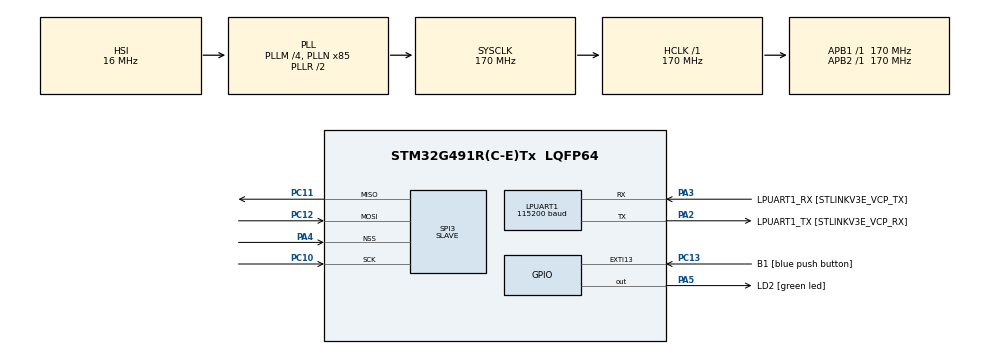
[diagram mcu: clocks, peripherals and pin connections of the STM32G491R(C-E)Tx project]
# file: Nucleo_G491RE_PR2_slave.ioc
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Dma.Request0=SPI3_RX
Dma.Request1=SPI3_TX
Dma.SPI3_RX.0.Direction=DMA_PERIPH_TO_MEMORY
Dma.SPI3_RX.0.EventEnable=DISABLE
Dma.SPI3_RX.0.Instance=DMA1_Channel1
Dma.SPI3_RX.0.MemDataAlignment=DMA_MDATAALIGN_BYTE
Dma.SPI3_RX.0.MemInc=DMA_MINC_ENABLE
Dma.SPI3_RX.0.Mode=DMA_NORMAL
Dma.SPI3_RX.0.PeriphDataAlignment=DMA_PDATAALIGN_BYTE
Dma.SPI3_RX.0.PeriphInc=DMA_PINC_DISABLE
Dma.SPI3_RX.0.Polarity=HAL_DMAMUX_REQ_GEN_RISING
Dma.SPI3_RX.0.Priority=DMA_PRIORITY_LOW
Dma.SPI3_RX.0.RequestNumber=1
Dma.SPI3_RX.0.SignalID=NONE
Dma.SPI3_RX.0.SyncEnable=DISABLE
Dma.SPI3_RX.0.SyncPolarity=HAL_DMAMUX_SYNC_NO_EVENT
Dma.SPI3_RX.0.SyncRequestNumber=1
Dma.SPI3_RX.0.SyncSignalID=NONE
Dma.SPI3_TX.1.Direction=DMA_MEMORY_TO_PERIPH
Dma.SPI3_TX.1.EventEnable=DISABLE
Dma.SPI3_TX.1.Instance=DMA1_Channel2
Dma.SPI3_TX.1.MemDataAlignment=DMA_MDATAALIGN_BYTE
Dma.SPI3_TX.1.MemInc=DMA_MINC_ENABLE
Dma.SPI3_TX.1.Mode=DMA_NORMAL
Dma.SPI3_TX.1.PeriphDataAlignment=DMA_PDATAALIGN_BYTE
Dma.SPI3_TX.1.PeriphInc=DMA_PINC_DISABLE
Dma.SPI3_TX.1.Polarity=HAL_DMAMUX_REQ_GEN_RISING
Dma.SPI3_TX.1.Priority=DMA_PRIORITY_LOW
Dma.SPI3_TX.1.RequestNumber=1
Dma.SPI3_TX.1.SignalID=NONE
Dma.SPI3_TX.1.SyncEnable=DISABLE
Dma.SPI3_TX.1.SyncPolarity=HAL_DMAMUX_SYNC_NO_EVENT
Dma.SPI3_TX.1.SyncRequestNumber=1
Dma.SPI3_TX.1.SyncSignalID=NONE
FREERTOS.Tasks01=SPIslaveTask,-3,128,StartSPIslaveTask,Default,NULL,Dynamic,NULL,NULL;IdleTask,-3,128,StartIdleTask,Default,NULL,Dynamic,NULL,NULL
LPUART1.BaudRate=115200
LPUART1.WordLength=UART_WORDLENGTH_8B
Mcu.Family=STM32G4
Mcu.Name=STM32G491R(C-E)Tx
Mcu.Package=LQFP64
NVIC.DMA1_Channel1_IRQn=true\:5\:0\:false\:false\:true\:true\:false\:true
NVIC.DMA1_Channel2_IRQn=true\:5\:0\:false\:false\:true\:true\:false\:true
NVIC.EXTI15_10_IRQn=true\:5\:0\:false\:false\:true\:true\:true\:true
NVIC.PriorityGroup=NVIC_PRIORITYGROUP_4
NVIC.TIM1_UP_TIM16_IRQn=true\:0\:0\:false\:false\:true\:false\:false\:true
NVIC.TimeBase=TIM1_UP_TIM16_IRQn
NVIC.TimeBaseIP=TIM1
PA13.GPIO_Label=T_SWDIO
PA13.Mode=Serial_Wire
PA13.Signal=SYS_JTMS-SWDIO
PA14.GPIO_Label=T_SWCLK
PA14.Mode=Serial_Wire
PA14.Signal=SYS_JTCK-SWCLK
PA2.GPIO_Label=LPUART1_TX [STLINKV3E_VCP_RX]
PA2.Mode=Asynchronous
PA2.Signal=LPUART1_TX
PA3.GPIO_Label=LPUART1_RX [STLINKV3E_VCP_TX]
PA3.Mode=Asynchronous
PA3.Signal=LPUART1_RX
PA4.Mode=NSS_Signal_Hard_Input
PA4.Signal=SPI3_NSS
PA5.GPIO_Label=LD2 [green led]
PA5.Signal=GPIO_Output
PB3.GPIO_Label=T_SWO
PB3.Signal=SYS_JTDO-SWO
PC10.Mode=Full_Duplex_Slave
PC10.Signal=SPI3_SCK
PC11.Mode=Full_Duplex_Slave
PC11.Signal=SPI3_MISO
PC12.Mode=Full_Duplex_Slave
PC12.Signal=SPI3_MOSI
PC13.GPIO_Label=B1 [blue push button]
PC13.Signal=GPXTI13
PC14-OSC32_IN.Mode=LSE-External-Oscillator
PC14-OSC32_IN.Signal=RCC_OSC32_IN
PC15-OSC32_OUT.Mode=LSE-External-Oscillator
PC15-OSC32_OUT.Signal=RCC_OSC32_OUT
PF0-OSC_IN.Mode=HSE-External-Oscillator
PF0-OSC_IN.Signal=RCC_OSC_IN
PF1-OSC_OUT.Mode=HSE-External-Oscillator
PF1-OSC_OUT.Signal=RCC_OSC_OUT
ProjectManager.HeapSize=0x200
ProjectManager.StackSize=0x400
ProjectManager.TargetToolchain=STM32CubeIDE
RCC.ADC12Freq_Value=170000000
RCC.ADC345Freq_Value=170000000
RCC.AHBFreq_Value=170000000
RCC.APB1Freq_Value=170000000
RCC.APB1TimFreq_Value=170000000
RCC.APB2Freq_Value=170000000
RCC.APB2TimFreq_Value=170000000
RCC.CortexFreq_Value=170000000
RCC.EXTERNAL_CLOCK_VALUE=12288000
RCC.HCLKFreq_Value=170000000
RCC.HSE_VALUE=24000000
RCC.HSI48_VALUE=48000000
RCC.HSI_VALUE=16000000
RCC.PLLM=RCC_PLLM_DIV4
RCC.PLLN=85
RCC.RTCClockSelection=RCC_RTCCLKSOURCE_LSE
RCC.SYSCLKFreq_VALUE=170000000
RCC.SYSCLKSource=RCC_SYSCLKSOURCE_PLLCLK
RCC.USBFreq_Value=48000000
RCC.VCOOutputFreq_Value=340000000
SPI3.Direction=SPI_DIRECTION_2LINES
SPI3.FirstBit=SPI_FIRSTBIT_MSB
SPI3.Mode=SPI_MODE_SLAVE
SPI3.VirtualNSS=VM_NSSHARD
SPI3.VirtualType=VM_SLAVE
VP_FREERTOS_VS_CMSIS_V1.Mode=CMSIS_V1
VP_SYS_VS_DBSignals.Mode=DisableDeadBatterySignals
VP_SYS_VS_tim1.Mode=TIM1
board=NUCLEO-G491RE

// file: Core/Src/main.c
/* USER CODE BEGIN Header */
/**
  ******************************************************************************
  * @file           : main.c
  * @brief          : Main program body
  ******************************************************************************
  * @attention
  *
  * <h2><center>&copy; Copyright (c) 2022 STMicroelectronics.
  * All rights reserved.</center></h2>
  *
  * This software component is licensed by ST under BSD 3-Clause license,
  * the "License"; You may not use this file except in compliance with the
  * License. You may obtain a copy of the License at:
  *                        opensource.org/licenses/BSD-3-Clause
  *
  ******************************************************************************
  */
/* USER CODE END Header */
#include "main.h"
#include "cmsis_os.h"

UART_HandleTypeDef hlpuart1;

SPI_HandleTypeDef hspi3;
DMA_HandleTypeDef hdma_spi3_rx;
DMA_HandleTypeDef hdma_spi3_tx;

osThreadId SPIslaveTaskHandle;
osThreadId IdleTaskHandle;
/* USER CODE BEGIN PV */
uint8_t rxBuffer[1] = {};
uint8_t txBuffer[44] = {};
/* USER CODE END PV */

void SystemClock_Config(void);
static void MX_GPIO_Init(void);
static void MX_DMA_Init(void);
static void MX_LPUART1_UART_Init(void);
static void MX_SPI3_Init(void);
void StartSPIslaveTask(void const * argument);
void StartIdleTask(void const * argument);

/* USER CODE BEGIN 0 */

// PR2に送信したいuint16型の数字を、uint8型の数字2つに分解する。
// 引数のvalは分解元のuint16型の数字
// 引数のdigitは分解された2つ数字のうち上から何番目を取り出すか
uint8_t decomposeDigit(uint16_t val, uint8_t digit){
	uint8_t num;
	num = val >> ((1 - digit) * 8);
	return num;
}

// PR2に送信したいuint16型の数字を、グローバル変数txBuffer[44]に格納する
// 引数のvalは、PR2に送信したいuint16型の数字
// 引数のidxは、PR2のトピック(/pressure/l(r)_gripper_motor)の配列の何番目にvalを格納するか。
// idx = 0, 1, 2, ... 21
// 44個の要素は2個で1つの数字となり、PR2に送信される。
// 1つの数字を2要素に分解するための関数がdecomposeDigit()
void setTxBuffer(uint16_t val, uint8_t idx) {
	for(int i = 0; i < 2; i++) {
	    txBuffer[idx * 2 + i] = decomposeDigit(val, i);
	}
}

/* USER CODE END 0 */

int main(void)
{

  /* MCU Configuration--------------------------------------------------------*/

  /* Reset of all peripherals, Initializes the Flash interface and the Systick. */
  HAL_Init();

  /* Configure the system clock */
  SystemClock_Config();

  /* Initialize all configured peripherals */
  MX_GPIO_Init();
  MX_DMA_Init();
  MX_LPUART1_UART_Init();
  MX_SPI3_Init();
  /* USER CODE BEGIN 2 */
  // /pressure/l(r)_gripper_motor values will be
  // [0, 100, 200, 300, ..., 2100]
  for(int i = 0; i < 22; i++) {
	  setTxBuffer(i*100, i);
  }
  /* USER CODE END 2 */

  /* Create the thread(s) */
  /* definition and creation of SPIslaveTask */
  osThreadDef(SPIslaveTask, StartSPIslaveTask, osPriorityIdle, 0, 128);
  SPIslaveTaskHandle = osThreadCreate(osThread(SPIslaveTask), NULL);

  /* definition and creation of IdleTask */
  osThreadDef(IdleTask, StartIdleTask, osPriorityIdle, 0, 128);
  IdleTaskHandle = osThreadCreate(osThread(IdleTask), NULL);

  /* Start scheduler */
  osKernelStart();

  /* We should never get here as control is now taken by the scheduler */
  /* Infinite loop */
  while (1)
  {

    /* USER CODE BEGIN 3 */
	  /*
    if (HAL_SPI_Receive(&hspi2, rxBuffer, 1, 1000) != HAL_OK) {
    	uint8_t dummy = rxBuffer[0];
	}
    if(rxBuffer[0] == 0x12){
    	if (HAL_SPI_Transmit(&hspi2, txBuffer, sizeof(txBuffer), 1000) != HAL_OK) {
    		printf("HAL_SPI_Transmit failed.\r\n");
    	}
    }
    */
  }
  /* USER CODE END 3 */
}

void SystemClock_Config(void)
{
  RCC_OscInitTypeDef RCC_OscInitStruct = {0};
  RCC_ClkInitTypeDef RCC_ClkInitStruct = {0};
  RCC_PeriphCLKInitTypeDef PeriphClkInit = {0};

  /** Configure the main internal regulator output voltage
  */
  HAL_PWREx_ControlVoltageScaling(PWR_REGULATOR_VOLTAGE_SCALE1_BOOST);
  /** Initializes the RCC Oscillators according to the specified parameters
  * in the RCC_OscInitTypeDef structure.
  */
  RCC_OscInitStruct.OscillatorType = RCC_OSCILLATORTYPE_HSI;
  RCC_OscInitStruct.HSIState = RCC_HSI_ON;
  RCC_OscInitStruct.HSICalibrationValue = RCC_HSICALIBRATION_DEFAULT;
  RCC_OscInitStruct.PLL.PLLState = RCC_PLL_ON;
  RCC_OscInitStruct.PLL.PLLSource = RCC_PLLSOURCE_HSI;
  RCC_OscInitStruct.PLL.PLLM = RCC_PLLM_DIV4;
  RCC_OscInitStruct.PLL.PLLN = 85;
  RCC_OscInitStruct.PLL.PLLP = RCC_PLLP_DIV2;
  RCC_OscInitStruct.PLL.PLLQ = RCC_PLLQ_DIV2;
  RCC_OscInitStruct.PLL.PLLR = RCC_PLLR_DIV2;
  if (HAL_RCC_OscConfig(&RCC_OscInitStruct) != HAL_OK)
  {
    Error_Handler();
  }
  /** Initializes the CPU, AHB and APB buses clocks
  */
  RCC_ClkInitStruct.ClockType = RCC_CLOCKTYPE_HCLK|RCC_CLOCKTYPE_SYSCLK
                              |RCC_CLOCKTYPE_PCLK1|RCC_CLOCKTYPE_PCLK2;
  RCC_ClkInitStruct.SYSCLKSource = RCC_SYSCLKSOURCE_PLLCLK;
  RCC_ClkInitStruct.AHBCLKDivider = RCC_SYSCLK_DIV1;
  RCC_ClkInitStruct.APB1CLKDivider = RCC_HCLK_DIV1;
  RCC_ClkInitStruct.APB2CLKDivider = RCC_HCLK_DIV1;

  if (HAL_RCC_ClockConfig(&RCC_ClkInitStruct, FLASH_LATENCY_4) != HAL_OK)
  {
    Error_Handler();
  }
  /** Initializes the peripherals clocks
  */
  PeriphClkInit.PeriphClockSelection = RCC_PERIPHCLK_LPUART1;
  PeriphClkInit.Lpuart1ClockSelection = RCC_LPUART1CLKSOURCE_PCLK1;
  if (HAL_RCCEx_PeriphCLKConfig(&PeriphClkInit) != HAL_OK)
  {
    Error_Handler();
  }
}

static void MX_LPUART1_UART_Init(void)
{

  hlpuart1.Instance = LPUART1;
  hlpuart1.Init.BaudRate = 115200;
  hlpuart1.Init.WordLength = UART_WORDLENGTH_8B;
  hlpuart1.Init.StopBits = UART_STOPBITS_1;
  hlpuart1.Init.Parity = UART_PARITY_NONE;
  hlpuart1.Init.Mode = UART_MODE_TX_RX;
  hlpuart1.Init.HwFlowCtl = UART_HWCONTROL_NONE;
  hlpuart1.Init.OneBitSampling = UART_ONE_BIT_SAMPLE_DISABLE;
  hlpuart1.Init.ClockPrescaler = UART_PRESCALER_DIV1;
  hlpuart1.AdvancedInit.AdvFeatureInit = UART_ADVFEATURE_NO_INIT;
  if (HAL_UART_Init(&hlpuart1) != HAL_OK)
  {
    Error_Handler();
  }
  if (HAL_UARTEx_SetTxFifoThreshold(&hlpuart1, UART_TXFIFO_THRESHOLD_1_8) != HAL_OK)
  {
    Error_Handler();
  }
  if (HAL_UARTEx_SetRxFifoThreshold(&hlpuart1, UART_RXFIFO_THRESHOLD_1_8) != HAL_OK)
  {
    Error_Handler();
  }
  if (HAL_UARTEx_DisableFifoMode(&hlpuart1) != HAL_OK)
  {
    Error_Handler();
  }

}

static void MX_SPI3_Init(void)
{

  /* SPI3 parameter configuration*/
  hspi3.Instance = SPI3;
  hspi3.Init.Mode = SPI_MODE_SLAVE;
  hspi3.Init.Direction = SPI_DIRECTION_2LINES;
  hspi3.Init.DataSize = SPI_DATASIZE_8BIT;
  hspi3.Init.CLKPolarity = SPI_POLARITY_LOW;
  hspi3.Init.CLKPhase = SPI_PHASE_1EDGE;
  hspi3.Init.NSS = SPI_NSS_HARD_INPUT;
  hspi3.Init.FirstBit = SPI_FIRSTBIT_MSB;
  hspi3.Init.TIMode = SPI_TIMODE_DISABLE;
  hspi3.Init.CRCCalculation = SPI_CRCCALCULATION_DISABLE;
  hspi3.Init.CRCPolynomial = 7;
  hspi3.Init.CRCLength = SPI_CRC_LENGTH_DATASIZE;
  hspi3.Init.NSSPMode = SPI_NSS_PULSE_DISABLE;
  if (HAL_SPI_Init(&hspi3) != HAL_OK)
  {
    Error_Handler();
  }

}

static void MX_DMA_Init(void)
{

  /* DMA controller clock enable */
  __HAL_RCC_DMAMUX1_CLK_ENABLE();
  __HAL_RCC_DMA1_CLK_ENABLE();

  /* DMA interrupt init */
  /* DMA1_Channel1_IRQn interrupt configuration */
  HAL_NVIC_SetPriority(DMA1_Channel1_IRQn, 5, 0);
  HAL_NVIC_EnableIRQ(DMA1_Channel1_IRQn);
  /* DMA1_Channel2_IRQn interrupt configuration */
  HAL_NVIC_SetPriority(DMA1_Channel2_IRQn, 5, 0);
  HAL_NVIC_EnableIRQ(DMA1_Channel2_IRQn);

}

static void MX_GPIO_Init(void)
{
  GPIO_InitTypeDef GPIO_InitStruct = {0};

  /* GPIO Ports Clock Enable */
  __HAL_RCC_GPIOC_CLK_ENABLE();
  __HAL_RCC_GPIOF_CLK_ENABLE();
  __HAL_RCC_GPIOA_CLK_ENABLE();
  __HAL_RCC_GPIOB_CLK_ENABLE();

  /*Configure GPIO pin Output Level */
  HAL_GPIO_WritePin(LD2_GPIO_Port, LD2_Pin, GPIO_PIN_RESET);

  /*Configure GPIO pin : B1_Pin */
  GPIO_InitStruct.Pin = B1_Pin;
  GPIO_InitStruct.Mode = GPIO_MODE_IT_RISING;
  GPIO_InitStruct.Pull = GPIO_NOPULL;
  HAL_GPIO_Init(B1_GPIO_Port, &GPIO_InitStruct);

  /*Configure GPIO pin : LD2_Pin */
  GPIO_InitStruct.Pin = LD2_Pin;
  GPIO_InitStruct.Mode = GPIO_MODE_OUTPUT_PP;
  GPIO_InitStruct.Pull = GPIO_NOPULL;
  GPIO_InitStruct.Speed = GPIO_SPEED_FREQ_LOW;
  HAL_GPIO_Init(LD2_GPIO_Port, &GPIO_InitStruct);

  /* EXTI interrupt init*/
  HAL_NVIC_SetPriority(EXTI15_10_IRQn, 5, 0);
  HAL_NVIC_EnableIRQ(EXTI15_10_IRQn);

}

void StartSPIslaveTask(void const * argument)
{
  /* USER CODE BEGIN 5 */
  /* Infinite loop */
  for(;;)
  {
	  if (HAL_SPI_Receive(&hspi3, rxBuffer, 1, 1000) != HAL_OK) {
		  uint8_t dummy = rxBuffer[0];
	  }
	  if(rxBuffer[0] == 0x12){
		  if (HAL_SPI_Transmit(&hspi3, txBuffer, sizeof(txBuffer), 1000) != HAL_OK) {
			  printf("HAL_SPI_Transmit failed.\r\n");
		  }
	  }
	  osDelay(1);
  }
  /* USER CODE END 5 */
}

void StartIdleTask(void const * argument)
{
  /* USER CODE BEGIN StartIdleTask */
  /* Infinite loop */
  for(;;)
  {
	  HAL_GPIO_TogglePin(LD2_GPIO_Port,LD2_Pin);
	  osDelay(100);
  }
  /* USER CODE END StartIdleTask */
}

 /**
  * @brief  Period elapsed callback in non blocking mode
  * @note   This function is called  when TIM1 interrupt took place, inside
  * HAL_TIM_IRQHandler(). It makes a direct call to HAL_IncTick() to increment
  * a global variable "uwTick" used as application time base.
  * @param  htim : TIM handle
  * @retval None
  */
void HAL_TIM_PeriodElapsedCallback(TIM_HandleTypeDef *htim)
{
  if (htim->Instance == TIM1) {
    HAL_IncTick();
  }
}

void Error_Handler(void)
{
  __disable_irq();
  while (1)
  {
  }
}

/************************ (C) COPYRIGHT STMicroelectronics *****END OF FILE****/
